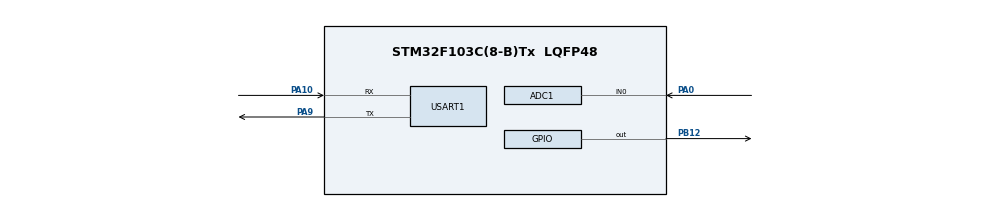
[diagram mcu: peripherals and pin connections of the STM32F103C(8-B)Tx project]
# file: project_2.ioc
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ADC1.Channel-1\#ChannelRegularConversion=ADC_CHANNEL_0
ADC1.EnableRegularConversion=ENABLE
ADC1.ExternalTrigConv=ADC_EXTERNALTRIGCONV_T3_TRGO
ADC1.NbrOfConversionFlag=1
ADC1.Rank-1\#ChannelRegularConversion=1
ADC1.SamplingTime-1\#ChannelRegularConversion=ADC_SAMPLETIME_1CYCLE_5
ADC1.master=1
Mcu.Family=STM32F1
Mcu.Name=STM32F103C(8-B)Tx
Mcu.Package=LQFP48
NVIC.ADC1_2_IRQn=true\:0\:0\:false\:false\:true\:true\:true
NVIC.PriorityGroup=NVIC_PRIORITYGROUP_4
NVIC.USART1_IRQn=true\:0\:0\:false\:false\:true\:true\:true
PA0-WKUP.Signal=ADCx_IN0
PA10.Mode=Asynchronous
PA10.Signal=USART1_RX
PA13.Mode=Serial_Wire
PA13.Signal=SYS_JTMS-SWDIO
PA14.Mode=Serial_Wire
PA14.Signal=SYS_JTCK-SWCLK
PA9.Mode=Asynchronous
PA9.Signal=USART1_TX
PB12.Signal=GPIO_Output
ProjectManager.HeapSize=0x200
ProjectManager.StackSize=0x400
ProjectManager.TargetToolchain=MDK-ARM V5.27
RCC.APB1Freq_Value=8000000
RCC.APB2Freq_Value=8000000
SH.ADCx_IN0.0=ADC1_IN0,IN0
TIM3.AutoReloadPreload=TIM_AUTORELOAD_PRELOAD_ENABLE
TIM3.Channel-Output\ Compare4\ No\ Output=TIM_CHANNEL_4
TIM3.Period=99
TIM3.Prescaler=15999
TIM3.TIM_MasterOutputTrigger=TIM_TRGO_UPDATE
USART1.VirtualMode=VM_ASYNC
VP_TIM3_VS_ClockSourceINT.Mode=Internal
VP_TIM3_VS_no_output4.Mode=Output Compare4 No Output
board=custom

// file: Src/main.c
/* USER CODE BEGIN Header */
/**
  ******************************************************************************
  * @file           : main.c
  * @brief          : Main program body
  ******************************************************************************
  * @attention
  *
  * <h2><center>&copy; Copyright (c) 2020 STMicroelectronics.
  * All rights reserved.</center></h2>
  *
  * This software component is licensed by ST under BSD 3-Clause license,
  * the "License"; You may not use this file except in compliance with the
  * License. You may obtain a copy of the License at:
  *                        opensource.org/licenses/BSD-3-Clause
  *
  ******************************************************************************
  */
/* USER CODE END Header */

#include "main.h"

ADC_HandleTypeDef hadc1;

TIM_HandleTypeDef htim3;

UART_HandleTypeDef huart1;

void SystemClock_Config(void);
static void MX_GPIO_Init(void);
static void MX_ADC1_Init(void);
static void MX_TIM3_Init(void);
static void MX_USART1_UART_Init(void);

/* USER CODE BEGIN 0 */
uint32_t adcVal;
uint32_t adcPrev;
uint8_t samplingRate;
int mybool = 0;
int restarted = 0;
int state = 0;
uint32_t beatsCount = 0;
uint32_t MinCount = 0;
uint32_t bpm = 0;
/* USER CODE END 0 */

		void dec_to_str (char* str, uint32_t val, size_t digits)
{
  size_t i=1;

  for(; i<=digits; i++)
  {
		  str[digits-i] = (char)((val % 10u) + '0');
    val/=10u;
  }

  str[i-1] = '\n';
}

int main(void)
{

  /* MCU Configuration--------------------------------------------------------*/

  /* Reset of all peripherals, Initializes the Flash interface and the Systick. */
  HAL_Init();

  /* Configure the system clock */
  SystemClock_Config();

  /* Initialize all configured peripherals */
  MX_GPIO_Init();
  MX_ADC1_Init();
  MX_TIM3_Init();
  MX_USART1_UART_Init();
  /* USER CODE BEGIN 2 */
	HAL_TIM_Base_Start(&htim3);
	//HAL_ADC_Start_IT(&hadc1);

	HAL_UART_Receive_IT(&huart1, &samplingRate, 1);
  /* USER CODE END 2 */

  /* Infinite loop */
  /* USER CODE BEGIN WHILE */
  while (1)
  {
		//HAL_Delay(10);
  }
  /* USER CODE END 3 */
}

void SystemClock_Config(void)
{
  RCC_OscInitTypeDef RCC_OscInitStruct = {0};
  RCC_ClkInitTypeDef RCC_ClkInitStruct = {0};
  RCC_PeriphCLKInitTypeDef PeriphClkInit = {0};

  /** Initializes the CPU, AHB and APB busses clocks
  */
  RCC_OscInitStruct.OscillatorType = RCC_OSCILLATORTYPE_HSI;
  RCC_OscInitStruct.HSIState = RCC_HSI_ON;
  RCC_OscInitStruct.HSICalibrationValue = RCC_HSICALIBRATION_DEFAULT;
  RCC_OscInitStruct.PLL.PLLState = RCC_PLL_NONE;
  if (HAL_RCC_OscConfig(&RCC_OscInitStruct) != HAL_OK)
  {
    Error_Handler();
  }
  /** Initializes the CPU, AHB and APB busses clocks
  */
  RCC_ClkInitStruct.ClockType = RCC_CLOCKTYPE_HCLK|RCC_CLOCKTYPE_SYSCLK
                              |RCC_CLOCKTYPE_PCLK1|RCC_CLOCKTYPE_PCLK2;
  RCC_ClkInitStruct.SYSCLKSource = RCC_SYSCLKSOURCE_HSI;
  RCC_ClkInitStruct.AHBCLKDivider = RCC_SYSCLK_DIV1;
  RCC_ClkInitStruct.APB1CLKDivider = RCC_HCLK_DIV1;
  RCC_ClkInitStruct.APB2CLKDivider = RCC_HCLK_DIV1;

  if (HAL_RCC_ClockConfig(&RCC_ClkInitStruct, FLASH_LATENCY_0) != HAL_OK)
  {
    Error_Handler();
  }
  PeriphClkInit.PeriphClockSelection = RCC_PERIPHCLK_ADC;
  PeriphClkInit.AdcClockSelection = RCC_ADCPCLK2_DIV2;
  if (HAL_RCCEx_PeriphCLKConfig(&PeriphClkInit) != HAL_OK)
  {
    Error_Handler();
  }
}

static void MX_ADC1_Init(void)
{

  ADC_ChannelConfTypeDef sConfig = {0};

  /** Common config
  */
  hadc1.Instance = ADC1;
  hadc1.Init.ScanConvMode = ADC_SCAN_DISABLE;
  hadc1.Init.ContinuousConvMode = DISABLE;
  hadc1.Init.DiscontinuousConvMode = DISABLE;
  hadc1.Init.ExternalTrigConv = ADC_EXTERNALTRIGCONV_T3_TRGO;
  hadc1.Init.DataAlign = ADC_DATAALIGN_RIGHT;
  hadc1.Init.NbrOfConversion = 1;
  if (HAL_ADC_Init(&hadc1) != HAL_OK)
  {
    Error_Handler();
  }
  /** Configure Regular Channel
  */
  sConfig.Channel = ADC_CHANNEL_0;
  sConfig.Rank = ADC_REGULAR_RANK_1;
  sConfig.SamplingTime = ADC_SAMPLETIME_1CYCLE_5;
  if (HAL_ADC_ConfigChannel(&hadc1, &sConfig) != HAL_OK)
  {
    Error_Handler();
  }

}

static void MX_TIM3_Init(void)
{

  TIM_ClockConfigTypeDef sClockSourceConfig = {0};
  TIM_MasterConfigTypeDef sMasterConfig = {0};
  TIM_OC_InitTypeDef sConfigOC = {0};

  htim3.Instance = TIM3;
  htim3.Init.Prescaler = 7999;
  htim3.Init.CounterMode = TIM_COUNTERMODE_UP;
  htim3.Init.Period = 99;
  htim3.Init.ClockDivision = TIM_CLOCKDIVISION_DIV1;
  htim3.Init.AutoReloadPreload = TIM_AUTORELOAD_PRELOAD_ENABLE;
  if (HAL_TIM_Base_Init(&htim3) != HAL_OK)
  {
    Error_Handler();
  }
  sClockSourceConfig.ClockSource = TIM_CLOCKSOURCE_INTERNAL;
  if (HAL_TIM_ConfigClockSource(&htim3, &sClockSourceConfig) != HAL_OK)
  {
    Error_Handler();
  }
  if (HAL_TIM_OC_Init(&htim3) != HAL_OK)
  {
    Error_Handler();
  }
  sMasterConfig.MasterOutputTrigger = TIM_TRGO_UPDATE;
  sMasterConfig.MasterSlaveMode = TIM_MASTERSLAVEMODE_DISABLE;
  if (HAL_TIMEx_MasterConfigSynchronization(&htim3, &sMasterConfig) != HAL_OK)
  {
    Error_Handler();
  }
  sConfigOC.OCMode = TIM_OCMODE_TIMING;
  sConfigOC.Pulse = 0;
  sConfigOC.OCPolarity = TIM_OCPOLARITY_HIGH;
  sConfigOC.OCFastMode = TIM_OCFAST_DISABLE;
  if (HAL_TIM_OC_ConfigChannel(&htim3, &sConfigOC, TIM_CHANNEL_4) != HAL_OK)
  {
    Error_Handler();
  }

}

static void MX_USART1_UART_Init(void)
{

  huart1.Instance = USART1;
  huart1.Init.BaudRate = 115200;
  huart1.Init.WordLength = UART_WORDLENGTH_8B;
  huart1.Init.StopBits = UART_STOPBITS_1;
  huart1.Init.Parity = UART_PARITY_NONE;
  huart1.Init.Mode = UART_MODE_TX_RX;
  huart1.Init.HwFlowCtl = UART_HWCONTROL_NONE;
  huart1.Init.OverSampling = UART_OVERSAMPLING_16;
  if (HAL_UART_Init(&huart1) != HAL_OK)
  {
    Error_Handler();
  }

}

static void MX_GPIO_Init(void)
{
  GPIO_InitTypeDef GPIO_InitStruct = {0};

  /* GPIO Ports Clock Enable */
  __HAL_RCC_GPIOA_CLK_ENABLE();
  __HAL_RCC_GPIOB_CLK_ENABLE();

  /*Configure GPIO pin Output Level */
  HAL_GPIO_WritePin(GPIOB, GPIO_PIN_12, GPIO_PIN_RESET);

  /*Configure GPIO pin : PB12 */
  GPIO_InitStruct.Pin = GPIO_PIN_12;
  GPIO_InitStruct.Mode = GPIO_MODE_OUTPUT_PP;
  GPIO_InitStruct.Pull = GPIO_NOPULL;
  GPIO_InitStruct.Speed = GPIO_SPEED_FREQ_LOW;
  HAL_GPIO_Init(GPIOB, &GPIO_InitStruct);

}

/* USER CODE BEGIN 4 */
void HAL_ADC_ConvCpltCallback(ADC_HandleTypeDef* hadc)
{
		MinCount++;
		if (MinCount >= samplingRate*60)
		{
			MinCount = 0;
			HAL_ADC_Stop(&hadc1);
			HAL_TIM_Base_Stop(&htim3);
			restarted = 1;
		}
		adcVal=HAL_ADC_GetValue(&hadc1);
		if (adcVal>2500 && adcPrev<=2500)
		{
			state = 1;
		}
		if (state==1 && adcVal<=2500 && adcPrev>2500)
		{
			state = 2;
			beatsCount++;
		}
		bpm = (int)((beatsCount)/((MinCount/samplingRate)*60));
		adcPrev = adcVal;
		char s[5];
		char bpmChar[4];
		char message[9];
		//uint8_t end[2] = "\r\n";
		dec_to_str(s,adcVal,4);
		dec_to_str(bpmChar,beatsCount,3);
		s[4] = ',';
		strcpy(message,s);
		strcat(message,bpmChar);

		HAL_UART_Transmit(&huart1,(uint8_t *)message,sizeof(message),20);
		//HAL_UART_Transmit(&huart1,(uint8_t *)bpmChar,sizeof(bpmChar),20);

		//HAL_UART_Transmit(&huart1,end,sizeof(end),20);
		HAL_GPIO_TogglePin(GPIOB,GPIO_PIN_12);

}
 void HAL_UART_RxCpltCallback(UART_HandleTypeDef *huart)
{
	if(restarted == 1)
		{
		__HAL_TIM_SET_AUTORELOAD(&htim3,(1000/samplingRate));
		HAL_ADC_Start(&hadc1);
		HAL_TIM_Base_Start(&htim3);
		__HAL_TIM_SET_AUTORELOAD(&htim3,(1000/samplingRate));
		}
		else
		{
		__HAL_TIM_SET_AUTORELOAD(&htim3,(1000/samplingRate));
		HAL_ADC_Start_IT(&hadc1);
		__HAL_TIM_SET_AUTORELOAD(&htim3,(1000/samplingRate));
		}
// change sampling rate via __HAL_TIM_SET_AUTORELOAD 1000/sampling rate
}
\
/* USER CODE END 4 */

void Error_Handler(void)
{
}

/************************ (C) COPYRIGHT STMicroelectronics *****END OF FILE****/
